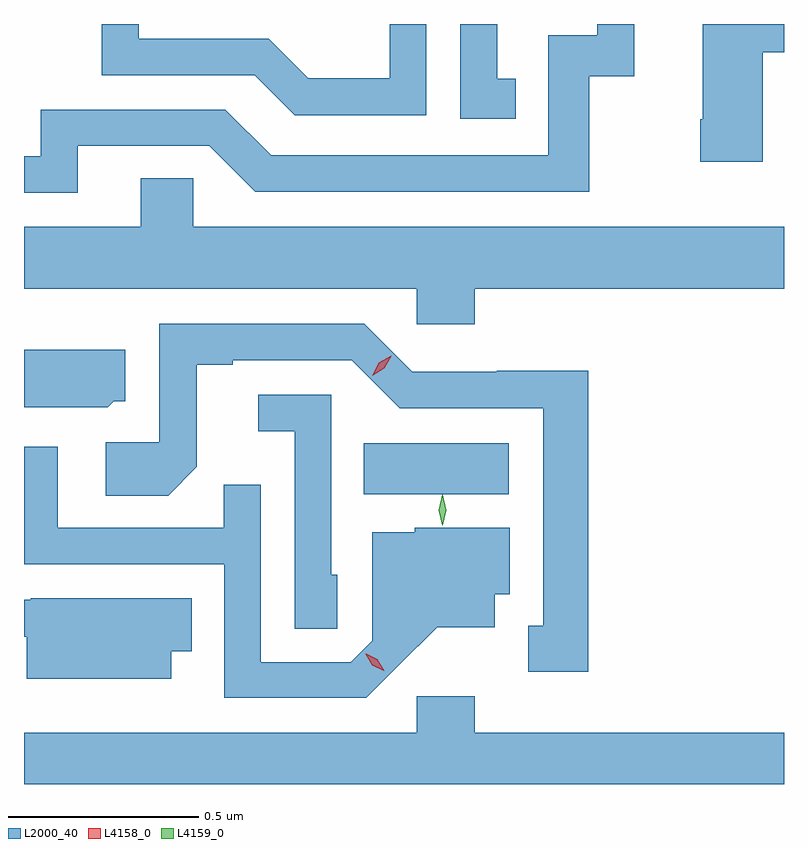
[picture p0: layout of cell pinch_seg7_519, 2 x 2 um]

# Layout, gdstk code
import gdstk
lib = gdstk.Library(unit=1e-6, precision=1e-09)
def R(c, l, rs):  # rectangles x0, y0, x1, y1
    for r in rs: c.add(gdstk.rectangle(r[:2], r[2:], *l))
def P(c, l, *ps):  # polygons
    for p in ps: c.add(gdstk.Polygon(p, *l))
L2000_40 = (2000, 40)
L4158_0 = (4158, 0)
L4159_0 = (4159, 0)

pinch_seg7_519 = lib.new_cell('pinch_seg7_519')
R(pinch_seg7_519, L2000_40, [(137.59,1072.004,137.971,1072.138)])
P(pinch_seg7_519, L2000_40, [(138.64,1073.167),(138.696,1073.167),(138.696,1073.241),(138.482,1073.241),(138.482,1072.99),(138.475,1072.99),(138.475,1072.878),(138.64,1072.878)],
  [(137.99,1073.097),(137.941,1073.097),(137.941,1073.241),(137.844,1073.241),(137.844,1072.992),(137.99,1072.992)],
  [(137.754,1073.241),(137.658,1073.241),(137.658,1073.098),(137.444,1073.098),(137.34,1073.202),(136.998,1073.202),(136.998,1073.241),(136.9,1073.241),(136.9,1073.106),(137.303,1073.106),(137.408,1073.001),(137.754,1073.001)],
  [(136.837,1072.92),(137.184,1072.92),(137.304,1072.8),(138.184,1072.8),(138.184,1073.103),(138.302,1073.103),(138.302,1073.241),(138.204,1073.241),(138.204,1073.211),(138.075,1073.211),(138.075,1072.896),(137.346,1072.896),(137.226,1073.016),(136.74,1073.016),(136.74,1072.893),(136.696,1072.893),(136.696,1072.797),(136.837,1072.797)],
  [(137.142,1072.835),(137.003,1072.835),(137.003,1072.708),(136.696,1072.708),(136.696,1072.544),(137.73,1072.544),(137.73,1072.451),(137.882,1072.451),(137.882,1072.544),(138.696,1072.544),(138.696,1072.708),(137.142,1072.708)],
  [(138.181,1072.328),(137.94,1072.328),(137.94,1072.326),(137.718,1072.326),(137.592,1072.452),(137.052,1072.452),(137.052,1072.14),(136.911,1072.14),(136.911,1072),(137.075,1072),(137.151,1072.076),(137.151,1072.344),(137.245,1072.344),(137.245,1072.356),(137.559,1072.356),(137.685,1072.23),(138.062,1072.23),(138.062,1071.657),(138.023,1071.657),(138.023,1071.537),(138.181,1071.537)],
  [(136.932,1072.248),(136.963,1072.248),(136.963,1072.384),(136.696,1072.384),(136.696,1072.233),(136.782,1072.233),(136.782,1072.232),(136.916,1072.232)],
  [(137.52,1071.792),(137.505,1071.792),(137.505,1072.266),(137.313,1072.266),(137.313,1072.169),(137.409,1072.169),(137.409,1071.649),(137.52,1071.649)],
  [(137.68,1071.551),(137.783,1071.653),(137.935,1071.653),(137.935,1071.74),(137.974,1071.74),(137.974,1071.916),(137.724,1071.916),(137.724,1071.904),(137.613,1071.904),(137.613,1071.618),(137.556,1071.561),(137.319,1071.561),(137.319,1072.028),(137.221,1072.028),(137.221,1071.915),(136.785,1071.915),(136.785,1072.129),(136.696,1072.129),(136.696,1071.819),(137.223,1071.819),(137.223,1071.468),(137.596,1071.468)],
  [(137.083,1071.59),(137.138,1071.59),(137.138,1071.73),(136.714,1071.73),(136.714,1071.726),(136.696,1071.726),(136.696,1071.629),(136.703,1071.629),(136.703,1071.518),(137.083,1071.518)],
  [(138.696,1071.376),(137.882,1071.376),(137.882,1071.472),(137.73,1071.472),(137.73,1071.376),(136.696,1071.376),(136.696,1071.241),(138.696,1071.241)])
P(pinch_seg7_519, L4158_0, [(137.612,1072.316),(137.612,1072.316),(137.63,1072.349),(137.662,1072.368),(137.662,1072.368),(137.662,1072.367),(137.644,1072.335),(137.612,1072.316)],
  [(137.643,1071.539),(137.613,1071.554),(137.595,1071.583),(137.595,1071.584),(137.596,1071.584),(137.626,1071.569),(137.644,1071.539),(137.644,1071.539)])
P(pinch_seg7_519, L4159_0, [(137.797,1071.922),(137.797,1071.922),(137.787,1071.962),(137.797,1072.002),(137.797,1072.002),(137.798,1072.002),(137.807,1071.962),(137.798,1071.922)])

lib.write_gds('pinch_seg7_519.gds')
